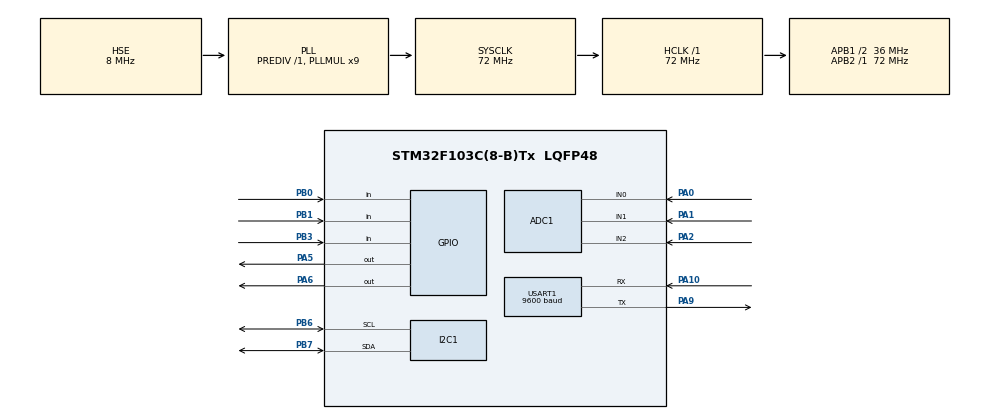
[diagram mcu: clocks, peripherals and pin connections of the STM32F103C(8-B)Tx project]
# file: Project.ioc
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ADC1.Channel-0\#ChannelRegularConversion=ADC_CHANNEL_0
ADC1.Channel-1\#ChannelRegularConversion=ADC_CHANNEL_1
ADC1.Channel-2\#ChannelRegularConversion=ADC_CHANNEL_2
ADC1.ContinuousConvMode=ENABLE
ADC1.NbrOfConversion=3
ADC1.NbrOfConversionFlag=1
ADC1.Rank-0\#ChannelRegularConversion=1
ADC1.Rank-1\#ChannelRegularConversion=2
ADC1.Rank-2\#ChannelRegularConversion=3
ADC1.SamplingTime-0\#ChannelRegularConversion=ADC_SAMPLETIME_239CYCLES_5
ADC1.SamplingTime-1\#ChannelRegularConversion=ADC_SAMPLETIME_239CYCLES_5
ADC1.SamplingTime-2\#ChannelRegularConversion=ADC_SAMPLETIME_239CYCLES_5
ADC1.master=1
Dma.ADC1.0.Direction=DMA_PERIPH_TO_MEMORY
Dma.ADC1.0.Instance=DMA1_Channel1
Dma.ADC1.0.MemDataAlignment=DMA_MDATAALIGN_HALFWORD
Dma.ADC1.0.MemInc=DMA_MINC_ENABLE
Dma.ADC1.0.Mode=DMA_CIRCULAR
Dma.ADC1.0.PeriphDataAlignment=DMA_PDATAALIGN_HALFWORD
Dma.ADC1.0.PeriphInc=DMA_PINC_DISABLE
Dma.ADC1.0.Priority=DMA_PRIORITY_LOW
Dma.Request0=ADC1
FREERTOS.Tasks01=Tast01,0,128,DisplayLCD,Default,NULL,Dynamic,NULL,NULL;Task02,0,128,Warning,Default,NULL,Dynamic,NULL,NULL;Task03,0,128,TogglePin,Default,NULL,Dynamic,NULL,NULL;Task04,0,128,ReadADC,Default,NULL,Dynamic,NULL,NULL
FREERTOS.configUSE_NEWLIB_REENTRANT=1
FREERTOS.copyHeapFile=1
Mcu.Family=STM32F1
Mcu.Name=STM32F103C(8-B)Tx
Mcu.Package=LQFP48
NVIC.ADC1_2_IRQn=true\:5\:0\:false\:false\:true\:false\:true\:true\:true
NVIC.DMA1_Channel1_IRQn=true\:5\:0\:true\:false\:true\:true\:false\:true\:true
NVIC.PriorityGroup=NVIC_PRIORITYGROUP_4
NVIC.TIM1_UP_IRQn=true\:15\:0\:false\:false\:true\:false\:false\:true\:true
NVIC.TimeBase=TIM1_UP_IRQn
NVIC.TimeBaseIP=TIM1
NVIC.USART1_IRQn=true\:0\:0\:true\:false\:true\:false\:true\:true\:true
PA0-WKUP.Signal=ADCx_IN0
PA1.Signal=ADCx_IN1
PA10.Mode=Asynchronous
PA10.Signal=USART1_RX
PA13.Mode=Serial_Wire
PA13.Signal=SYS_JTMS-SWDIO
PA14.Mode=Serial_Wire
PA14.Signal=SYS_JTCK-SWCLK
PA2.Signal=ADCx_IN2
PA5.GPIO_Speed=GPIO_SPEED_FREQ_LOW
PA5.PinState=GPIO_PIN_SET
PA5.Signal=GPIO_Output
PA6.GPIO_Speed=GPIO_SPEED_FREQ_LOW
PA6.PinState=GPIO_PIN_RESET
PA6.Signal=GPIO_Output
PA9.Mode=Asynchronous
PA9.Signal=USART1_TX
PB0.GPIO_PuPd=GPIO_PULLUP
PB0.Signal=GPIO_Input
PB1.GPIO_PuPd=GPIO_PULLUP
PB1.Signal=GPIO_Input
PB3.GPIO_PuPd=GPIO_PULLUP
PB3.Signal=GPIO_Input
PB6.Mode=I2C
PB6.Signal=I2C1_SCL
PB7.Mode=I2C
PB7.Signal=I2C1_SDA
PD0-OSC_IN.Mode=HSE-External-Oscillator
PD0-OSC_IN.Signal=RCC_OSC_IN
PD1-OSC_OUT.Mode=HSE-External-Oscillator
PD1-OSC_OUT.Signal=RCC_OSC_OUT
ProjectManager.HeapSize=0x200
ProjectManager.StackSize=0x400
ProjectManager.TargetToolchain=STM32CubeIDE
RCC.ADCPresc=RCC_ADCPCLK2_DIV6
RCC.AHBFreq_Value=72000000
RCC.APB1CLKDivider=RCC_HCLK_DIV2
RCC.APB1Freq_Value=36000000
RCC.APB1TimFreq_Value=72000000
RCC.APB2Freq_Value=72000000
RCC.APB2TimFreq_Value=72000000
RCC.HCLKFreq_Value=72000000
RCC.PLLMUL=RCC_PLL_MUL9
RCC.PLLSourceVirtual=RCC_PLLSOURCE_HSE
RCC.SYSCLKFreq_VALUE=72000000
RCC.SYSCLKSource=RCC_SYSCLKSOURCE_PLLCLK
RCC.USBFreq_Value=72000000
SH.ADCx_IN0.0=ADC1_IN0,IN0
SH.ADCx_IN1.0=ADC1_IN1,IN1
SH.ADCx_IN2.0=ADC1_IN2,IN2
USART1.BaudRate=9600
USART1.VirtualMode=VM_ASYNC
VP_FREERTOS_VS_CMSIS_V1.Mode=CMSIS_V1
VP_SYS_VS_tim1.Mode=TIM1
board=custom

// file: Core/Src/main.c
/* USER CODE BEGIN Header */
/**
 ******************************************************************************
 * @file           : main.c
 * @brief          : Main program body
 ******************************************************************************
 * @attention
 *
 * Copyright (c) 2023 STMicroelectronics.
 * All rights reserved.
 *
 * This software is licensed under terms that can be found in the LICENSE file
 * in the root directory of this software component.
 * If no LICENSE file comes with this software, it is provided AS-IS.
 *
 ******************************************************************************
 */
/* USER CODE END Header */
#include "main.h"
#include "cmsis_os.h"

/* USER CODE BEGIN Includes */
#include "stdio.h"
#include "lcd_16x2.h"
#include "string.h"
/* USER CODE END Includes */

ADC_HandleTypeDef hadc1;
DMA_HandleTypeDef hdma_adc1;

I2C_HandleTypeDef hi2c1;

UART_HandleTypeDef huart1;

osThreadId Tast01Handle;
osThreadId Task02Handle;
osThreadId Task03Handle;
osThreadId Task04Handle;
osThreadId Task05Handle;
/* USER CODE BEGIN PV */

uint16_t var[3];
uint16_t gasVariable=0,fireVariable=0,tempVariable=0;
//uint8_t gas=0, fire=0, temp=0;
char a[20];
uint8_t buff[5];
volatile uint8_t send,resend;
static volatile uint8_t tempRange=80,fireRange=80,gasRange=80;
static volatile uint8_t menu,chose;
static volatile uint8_t timecount=0;

/* USER CODE END PV */

void SystemClock_Config(void);
static void MX_GPIO_Init(void);
static void MX_DMA_Init(void);
static void MX_ADC1_Init(void);
static void MX_USART1_UART_Init(void);
static void MX_I2C1_Init(void);
void DisplayLCD(void const * argument);
void Warning(void const * argument);
void TogglePin(void const * argument);
void ReadADC(void const * argument);
void Receive(void const * argument);

/* USER CODE BEGIN 0 */

							/*HAM CHONG DOI NUT NHAN */

uint8_t debounce(GPIO_TypeDef* GPIOx, uint16_t GPIO_Pin)
{
	    if (HAL_GPIO_ReadPin(GPIOx, GPIO_Pin) == 0)
	    {
	    	HAL_Delay(80);
	        if (HAL_GPIO_ReadPin(GPIOx, GPIO_Pin) == 0)
	        {
	            return 1;
	        }
	    }
	    return 0;
}

                                  /* HAM DE HIEN THI LEN LCD */
void HienThiCacDonVi (void)
{

	uint8_t degreeC[8] = { 0b00110, 0b00110 };    /*cai nay de tao ra dau do*/
	/*Nhan nut menu*/
	if (debounce(GPIOB, GPIO_PIN_0)==1)
	{
		Lcd_clear_display();
		menu=menu+1;
	}

	if(menu==0)
	{
	Lcd_gotoxy(0, 0);
	sprintf(a, "%d  ", tempVariable);
	Lcd_write_string(a);
	Lcd_gotoxy(11, 0);
	sprintf(a, "%d  ", gasVariable);
	Lcd_write_string(a);
	Lcd_gotoxy(11, 1);
	sprintf(a, "%d  ", fireVariable);
	Lcd_write_string(a);
	Lcd_create_custom_char(0, degreeC);
	Lcd_write_custom_char(3, 0, 0);
	Lcd_gotoxy(4, 0);
	Lcd_write_string("C");
	Lcd_gotoxy(8, 0);
	Lcd_write_string("Ga:");
	Lcd_gotoxy(15, 0);
	Lcd_write_string("%");
	Lcd_gotoxy(8, 1);
	Lcd_write_string("Fi:");
	Lcd_gotoxy(15, 1);
	Lcd_write_string("%");
	}

		if(menu==1)
		{
			Lcd_gotoxy(0, 0);
			Lcd_write_string("Temp range:");
			Lcd_create_custom_char(0, degreeC);
			Lcd_write_custom_char(3, 1, 0);
			Lcd_gotoxy(4, 1);
			Lcd_write_string("C");
			Lcd_gotoxy(0, 1);
			Lcd_write_int(tempRange);
			if (debounce(GPIOB, GPIO_PIN_1)==1)
			{
				tempRange++;
				Lcd_clear_xy(0,1);
				Lcd_clear_xy(1,1);
				Lcd_clear_xy(2,1);
				if(tempRange >150)
				{
					tempRange=20;
				}
			}
			if (debounce(GPIOB, GPIO_PIN_3)==1)
			{
				tempRange--;
				Lcd_clear_xy(0,1);
				Lcd_clear_xy(1,1);
				Lcd_clear_xy(2,1);
				if(tempRange<20)
				{
					tempRange=150;
				}
			}
		}

		if(menu==2)
			{
				Lcd_gotoxy(0, 0);
				Lcd_write_string("Gas range:");
				Lcd_gotoxy(0, 1);
				Lcd_write_int(gasRange);
				Lcd_gotoxy(4, 1);
				Lcd_write_string("%");
				if (debounce(GPIOB, GPIO_PIN_1)==1)
				{
					gasRange++;
					Lcd_clear_xy(0,1);
					Lcd_clear_xy(1,1);
					Lcd_clear_xy(2,1);
					if(gasRange>100)
					{
						gasRange=0;
					}
				}
				if (debounce(GPIOB, GPIO_PIN_3)==1)
				{
					gasRange--;
					Lcd_clear_xy(0,1);
					Lcd_clear_xy(1,1);
					Lcd_clear_xy(2,1);
					if(gasRange<0)
					{
						gasRange=100;
					}
				}
			}

		if(menu==3)
			{
				Lcd_gotoxy(0, 0);
				Lcd_write_string("Fire range:");
				Lcd_gotoxy(0, 1);
				Lcd_write_int(fireRange);
				Lcd_gotoxy(4, 1);
				Lcd_write_string("%");
				if (debounce(GPIOB, GPIO_PIN_1)==1)
				{
					fireRange++;
					Lcd_clear_xy(0,1);
					Lcd_clear_xy(1,1);
					Lcd_clear_xy(2,1);
					if(fireRange>100)
					{
						fireRange=0;
					}
				}
				if (debounce(GPIOB, GPIO_PIN_3)==1)
				{
					fireRange--;
					Lcd_clear_xy(0,1);
					Lcd_clear_xy(1,1);
					Lcd_clear_xy(2,1);
					if(fireRange<0)
					{
						fireRange=100;
					}
				}
			}

		if(menu>3)
		{
			menu=0;
		}
	}

										/*   HAM GUI TIN HIEU SMS    */
void SendWarning()
{
	const char* warningMsg1 = "AT+CMGS=\"0765214176\"\r\n";
	HAL_UART_Transmit(&huart1,(uint8_t*)warningMsg1,strlen(warningMsg1),HAL_MAX_DELAY);
	HAL_Delay(500);
	const char* warningMsg2 = "WARNING DANGER PRESS '1' TO SHUT DOWN\x1A\r\n";
	HAL_UART_Transmit(&huart1, (uint8_t*)warningMsg2, strlen(warningMsg2),HAL_MAX_DELAY);
	HAL_Delay(2000);
}

                                        /*    HAM CANH BAO MUC DO   */

int CanhBao (uint16_t a /*temp*/, uint16_t b /*gas*/, uint16_t c /*fire*/ )
{

	if (/*a >= tempRange ||*/ b >= gasRange || c >= fireRange)
	{
		return 1;
	}
	else
	{
		return 0;
	}
}

void BuzzerSound()
{
	HAL_GPIO_WritePin(GPIOA, GPIO_PIN_6,1);
	HAL_Delay(500);
	HAL_GPIO_WritePin(GPIOA, GPIO_PIN_6,0);
	HAL_Delay(100);
	HAL_GPIO_WritePin(GPIOA, GPIO_PIN_6,1);
	HAL_Delay(100);
	HAL_GPIO_WritePin(GPIOA, GPIO_PIN_6,0);
	HAL_Delay(100);
	HAL_GPIO_WritePin(GPIOA, GPIO_PIN_6,1);
	HAL_Delay(100);
	HAL_GPIO_WritePin(GPIOA, GPIO_PIN_6,0);
	HAL_Delay(100);
}

/* USER CODE END 0 */

int main(void)
{

  /* MCU Configuration--------------------------------------------------------*/

  /* Reset of all peripherals, Initializes the Flash interface and the Systick. */
  HAL_Init();

  /* Configure the system clock */
  SystemClock_Config();

  /* USER CODE BEGIN SysInit */
  Lcd_Init();
  /* USER CODE END SysInit */

  /* Initialize all configured peripherals */
  MX_GPIO_Init();
  MX_DMA_Init();
  MX_ADC1_Init();
  MX_USART1_UART_Init();
  MX_I2C1_Init();
  /* USER CODE BEGIN 2 */
  buff[0] = '\0';
  HAL_ADC_Start_DMA(&hadc1, (uint32_t*) var, 3);
  Lcd_clear_display();
  /* USER CODE END 2 */

  /* Create the thread(s) */
  /* definition and creation of Tast01 */
  osThreadDef(Tast01, DisplayLCD, osPriorityNormal, 0, 128);
  Tast01Handle = osThreadCreate(osThread(Tast01), NULL);

  /* definition and creation of Task02 */
  osThreadDef(Task02, Warning, osPriorityNormal, 0, 128);
  Task02Handle = osThreadCreate(osThread(Task02), NULL);

  /* definition and creation of Task03 */
  osThreadDef(Task03, TogglePin, osPriorityNormal, 0, 128);
  Task03Handle = osThreadCreate(osThread(Task03), NULL);

  /* definition and creation of Task04 */
  osThreadDef(Task04, ReadADC, osPriorityNormal, 0, 128);
  Task04Handle = osThreadCreate(osThread(Task04), NULL);

  /* definition and creation of Task05 */
  osThreadDef(Task05, Receive, osPriorityNormal, 0, 128);
  Task05Handle = osThreadCreate(osThread(Task05), NULL);

  /* Start scheduler */
  osKernelStart();

  /* We should never get here as control is now taken by the scheduler */
  /* Infinite loop */
	while (1)
	{

	}
}

void SystemClock_Config(void)
{
  RCC_OscInitTypeDef RCC_OscInitStruct = {0};
  RCC_ClkInitTypeDef RCC_ClkInitStruct = {0};
  RCC_PeriphCLKInitTypeDef PeriphClkInit = {0};

  /** Initializes the RCC Oscillators according to the specified parameters
  * in the RCC_OscInitTypeDef structure.
  */
  RCC_OscInitStruct.OscillatorType = RCC_OSCILLATORTYPE_HSE;
  RCC_OscInitStruct.HSEState = RCC_HSE_ON;
  RCC_OscInitStruct.HSEPredivValue = RCC_HSE_PREDIV_DIV1;
  RCC_OscInitStruct.HSIState = RCC_HSI_ON;
  RCC_OscInitStruct.PLL.PLLState = RCC_PLL_ON;
  RCC_OscInitStruct.PLL.PLLSource = RCC_PLLSOURCE_HSE;
  RCC_OscInitStruct.PLL.PLLMUL = RCC_PLL_MUL9;
  if (HAL_RCC_OscConfig(&RCC_OscInitStruct) != HAL_OK)
  {
    Error_Handler();
  }

  /** Initializes the CPU, AHB and APB buses clocks
  */
  RCC_ClkInitStruct.ClockType = RCC_CLOCKTYPE_HCLK|RCC_CLOCKTYPE_SYSCLK
                              |RCC_CLOCKTYPE_PCLK1|RCC_CLOCKTYPE_PCLK2;
  RCC_ClkInitStruct.SYSCLKSource = RCC_SYSCLKSOURCE_PLLCLK;
  RCC_ClkInitStruct.AHBCLKDivider = RCC_SYSCLK_DIV1;
  RCC_ClkInitStruct.APB1CLKDivider = RCC_HCLK_DIV2;
  RCC_ClkInitStruct.APB2CLKDivider = RCC_HCLK_DIV1;

  if (HAL_RCC_ClockConfig(&RCC_ClkInitStruct, FLASH_LATENCY_2) != HAL_OK)
  {
    Error_Handler();
  }
  PeriphClkInit.PeriphClockSelection = RCC_PERIPHCLK_ADC;
  PeriphClkInit.AdcClockSelection = RCC_ADCPCLK2_DIV6;
  if (HAL_RCCEx_PeriphCLKConfig(&PeriphClkInit) != HAL_OK)
  {
    Error_Handler();
  }
}

static void MX_ADC1_Init(void)
{

  ADC_ChannelConfTypeDef sConfig = {0};

  /** Common config
  */
  hadc1.Instance = ADC1;
  hadc1.Init.ScanConvMode = ADC_SCAN_ENABLE;
  hadc1.Init.ContinuousConvMode = ENABLE;
  hadc1.Init.DiscontinuousConvMode = DISABLE;
  hadc1.Init.ExternalTrigConv = ADC_SOFTWARE_START;
  hadc1.Init.DataAlign = ADC_DATAALIGN_RIGHT;
  hadc1.Init.NbrOfConversion = 3;
  if (HAL_ADC_Init(&hadc1) != HAL_OK)
  {
    Error_Handler();
  }

  /** Configure Regular Channel
  */
  sConfig.Channel = ADC_CHANNEL_0;
  sConfig.Rank = ADC_REGULAR_RANK_1;
  sConfig.SamplingTime = ADC_SAMPLETIME_239CYCLES_5;
  if (HAL_ADC_ConfigChannel(&hadc1, &sConfig) != HAL_OK)
  {
    Error_Handler();
  }

  /** Configure Regular Channel
  */
  sConfig.Channel = ADC_CHANNEL_1;
  sConfig.Rank = ADC_REGULAR_RANK_2;
  if (HAL_ADC_ConfigChannel(&hadc1, &sConfig) != HAL_OK)
  {
    Error_Handler();
  }

  /** Configure Regular Channel
  */
  sConfig.Channel = ADC_CHANNEL_2;
  sConfig.Rank = ADC_REGULAR_RANK_3;
  if (HAL_ADC_ConfigChannel(&hadc1, &sConfig) != HAL_OK)
  {
    Error_Handler();
  }

}

static void MX_I2C1_Init(void)
{

  hi2c1.Instance = I2C1;
  hi2c1.Init.ClockSpeed = 100000;
  hi2c1.Init.DutyCycle = I2C_DUTYCYCLE_2;
  hi2c1.Init.OwnAddress1 = 0;
  hi2c1.Init.AddressingMode = I2C_ADDRESSINGMODE_7BIT;
  hi2c1.Init.DualAddressMode = I2C_DUALADDRESS_DISABLE;
  hi2c1.Init.OwnAddress2 = 0;
  hi2c1.Init.GeneralCallMode = I2C_GENERALCALL_DISABLE;
  hi2c1.Init.NoStretchMode = I2C_NOSTRETCH_DISABLE;
  if (HAL_I2C_Init(&hi2c1) != HAL_OK)
  {
    Error_Handler();
  }

}

static void MX_USART1_UART_Init(void)
{

  huart1.Instance = USART1;
  huart1.Init.BaudRate = 9600;
  huart1.Init.WordLength = UART_WORDLENGTH_8B;
  huart1.Init.StopBits = UART_STOPBITS_1;
  huart1.Init.Parity = UART_PARITY_NONE;
  huart1.Init.Mode = UART_MODE_TX_RX;
  huart1.Init.HwFlowCtl = UART_HWCONTROL_NONE;
  huart1.Init.OverSampling = UART_OVERSAMPLING_16;
  if (HAL_UART_Init(&huart1) != HAL_OK)
  {
    Error_Handler();
  }

}

static void MX_DMA_Init(void)
{

  /* DMA controller clock enable */
  __HAL_RCC_DMA1_CLK_ENABLE();

  /* DMA interrupt init */
  /* DMA1_Channel1_IRQn interrupt configuration */
  HAL_NVIC_SetPriority(DMA1_Channel1_IRQn, 5, 0);
  HAL_NVIC_EnableIRQ(DMA1_Channel1_IRQn);

}

static void MX_GPIO_Init(void)
{
  GPIO_InitTypeDef GPIO_InitStruct = {0};

  /* GPIO Ports Clock Enable */
  __HAL_RCC_GPIOD_CLK_ENABLE();
  __HAL_RCC_GPIOA_CLK_ENABLE();
  __HAL_RCC_GPIOB_CLK_ENABLE();

  /*Configure GPIO pin Output Level */
  HAL_GPIO_WritePin(GPIOA, GPIO_PIN_5, GPIO_PIN_SET);

  /*Configure GPIO pin Output Level */
  HAL_GPIO_WritePin(GPIOA, GPIO_PIN_6, GPIO_PIN_RESET);

  /*Configure GPIO pins : PA5 PA6 */
  GPIO_InitStruct.Pin = GPIO_PIN_5|GPIO_PIN_6;
  GPIO_InitStruct.Mode = GPIO_MODE_OUTPUT_PP;
  GPIO_InitStruct.Pull = GPIO_NOPULL;
  GPIO_InitStruct.Speed = GPIO_SPEED_FREQ_LOW;
  HAL_GPIO_Init(GPIOA, &GPIO_InitStruct);

  /*Configure GPIO pins : PB0 PB1 PB3 */
  GPIO_InitStruct.Pin = GPIO_PIN_0|GPIO_PIN_1|GPIO_PIN_3;
  GPIO_InitStruct.Mode = GPIO_MODE_INPUT;
  GPIO_InitStruct.Pull = GPIO_PULLUP;
  HAL_GPIO_Init(GPIOB, &GPIO_InitStruct);

}

void DisplayLCD(void const * argument)
{
  /* USER CODE BEGIN 5 */
  /* Infinite loop */
  for(;;)
  {
	HienThiCacDonVi();
    osDelay(1);
  }
  /* USER CODE END 5 */
}

void Warning(void const * argument)
{
  /* USER CODE BEGIN Warning */
  /* Infinite loop */
  for(;;)
  {
	HAL_UART_Receive(&huart1, buff, 1,100);
	if(CanhBao(tempVariable,gasVariable,fireVariable) == 1  && resend == 0)
	{
			SendWarning();
	}
	if (buff[0] == '1' && send == 1)
	{
		HAL_GPIO_WritePin(GPIOA, GPIO_PIN_5, 0);
		resend = 1;
		buff[0]='\0';
	}
    osDelay(1);
  }
  /* USER CODE END Warning */
}

void TogglePin(void const * argument)
{
  /* USER CODE BEGIN TogglePin */
  /* Infinite loop */
  for(;;)
  {
	if(CanhBao(tempVariable,gasVariable,fireVariable) == 1)
	{
		send=1;
		if(resend == 1)
		{
			send=0;
		}
		else
		{
			BuzzerSound();
			timecount=timecount+1;
			if(timecount==7)
			{
				HAL_GPIO_WritePin(GPIOA, GPIO_PIN_5, 0);
				timecount=0;
				resend = 1;
			}
		}
	}
	else if(CanhBao(tempVariable,gasVariable,fireVariable) == 0)
	{
		timecount=0;
		HAL_GPIO_WritePin(GPIOA, GPIO_PIN_6,0);
	}
    osDelay(1);
  }
  /* USER CODE END TogglePin */
}

void ReadADC(void const * argument)
{
  /* USER CODE BEGIN ReadADC */
  /* Infinite loop */
  for(;;)
  {
	tempVariable=((var[0]*500)/4095);
	gasVariable=((var[1] * 100) / 4095);
	fireVariable=(((4095 - var[2]) * 100) / 4095);
    osDelay(1);
  }
  /* USER CODE END ReadADC */
}

void Receive(void const * argument)
{
  for(;;)
  {
    osDelay(1);
  }
}

void HAL_TIM_PeriodElapsedCallback(TIM_HandleTypeDef *htim)
{
  if (htim->Instance == TIM1) {
    HAL_IncTick();
  }
}

void Error_Handler(void)
{
	__disable_irq();
	while (1) {
	}
}
